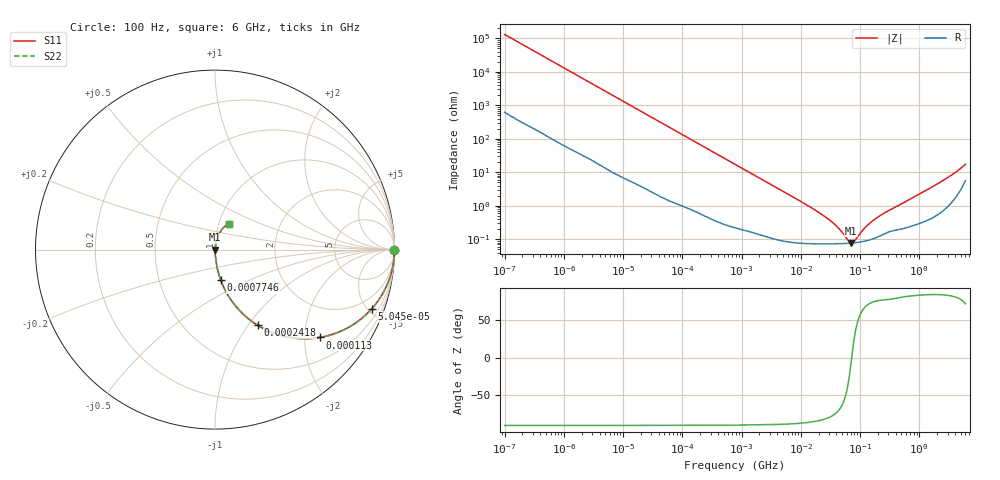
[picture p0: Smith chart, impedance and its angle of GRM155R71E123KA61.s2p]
!Murata Part Number: GRM155R71E123KA61
!These Parameters are Measured in Series Mode Connection
!Data Generated on Mar 30, 2021
!  o--ll--o
!Port1  Port2
!  o------o
!Operation Temp=25[degC], DC Bias Voltage=0[V]
!Freq. Start=100[Hz] Stop=6[GHz] 401[Steps]
# Hz S RI R 50
!Freq.(Hz) S11(Real) S11(Imag) S21(Real) S21(Imag) S12(Real) S12(Imag) S22(Real) S22(Imag)
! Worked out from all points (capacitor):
!   401 points, 100 Hz to 6 GHz, reference 50 ohm
!   read as one part in series: C = 12.1 nF near 109 Hz
!   lowest |Z| = 77.1 mohm at 71.29 MHz (marker M1)
!   series resonance near 72.28 MHz, so ESL is about 400 pH
!   S11 on the Smith chart (normalised r, x): 100 Hz: open; 50.45 kHz: 1.03, -5.29; 113 kHz: 1.02, -2.37; 241.8 kHz: 1.01, -1.11; 774.6 kHz: 1.00, -0.35; 6 GHz: 1.11, +0.33
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100  1 -0.000764  4.2e-06 0.000764  4.2e-06 0.000764  1 -0.000764
2008  0.9997 -0.0152  0.000308 0.0152  0.000308 0.0152  0.9997 -0.0152
12041  0.9914 -0.0899  0.00863 0.0899  0.00863 0.0899  0.9914 -0.0899
40335  0.9148 -0.2762  0.0852 0.2762  0.0852 0.2762  0.9148 -0.2762
50455  0.8734 -0.3295  0.1266 0.3295  0.1266 0.3295  0.8734 -0.3295
112960  0.5834 -0.4892  0.4166 0.4892  0.4166 0.4892  0.5834 -0.4892
161617  0.4084 -0.4874  0.5916 0.4874  0.5916 0.4874  0.4084 -0.4874
241822  0.2379 -0.4214  0.7621 0.4214  0.7621 0.4214  0.2379 -0.4214
413847  0.0981 -0.2926  0.9019 0.2926  0.9019 0.2926  0.0981 -0.2926
774597  0.0315 -0.1685  0.9685 0.1685  0.9685 0.1685  0.0315 -0.1685
2481164  0.00421 -0.0546  0.9958 0.0546  0.9958 0.0546  0.00421 -0.0546
1.555665e7  0.000803 -0.00839  0.9992 0.00839  0.9992 0.00839  0.000803 -0.00839
3.482834e7  0.000737 -0.00302  0.9993 0.00302  0.9993 0.00302  0.000737 -0.00302
4.556224e7  0.000739 -0.00181  0.9993 0.00181  0.9993 0.00181  0.000739 -0.00181
6.518806e7  0.000759 -0.000391  0.9992 0.000391  0.9992 0.000391  0.000759 -0.000391
7.129496e7  0.000768 -5.1e-05  0.9992 5.1e-05  0.9992 5.1e-05  0.000768 -5.1e-05
8.154455e7  0.000786 0.000458  0.9992 -0.000458  0.9992 -0.000458  0.000786 0.000458
1.115611e8  0.000855 0.00169  0.9991 -0.00169  0.9991 -0.00169  0.000855 0.00169
1.459435e8  0.000963 0.00285  0.999 -0.00285  0.999 -0.00285  0.000963 0.00285
3.124326e8  0.00172 0.00713  0.9983 -0.00713  0.9983 -0.00713  0.00172 0.00713
2.048624e9  0.00738 0.0448  0.9926 -0.0448  0.9926 -0.0448  0.00738 0.0448
6e9  0.0759 0.1448  0.9241 -0.1448  0.9241 -0.1448  0.0759 0.1448
